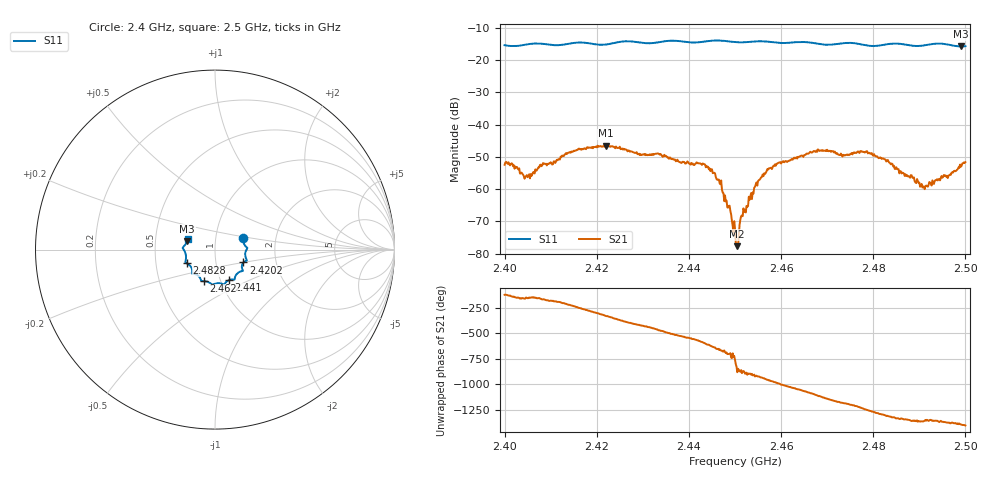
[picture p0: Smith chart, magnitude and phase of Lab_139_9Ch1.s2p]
# Hz S RI R 50
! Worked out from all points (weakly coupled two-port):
!   601 points, 2.4 GHz to 2.5 GHz, reference 50 ohm
!   highest |S21| = -46.54 dB at 2.422 GHz (marker M1); lowest = -77.7 dB at 2.4505 GHz (marker M2)
!   lowest |S11| = -15.8 dB at 2.499 GHz (marker M3), VSWR 1.39, Z = 36.4 + j3.55 ohm
!   |S11| at or under -10 dB: start of sweep to end of sweep
!   S12 and S22 are empty: the file has one direction only
!   S11 on the Smith chart (normalised r, x): 2.4 GHz: 1.36, +0.17; 2.4202 GHz: 1.36, -0.20; 2.441 GHz: 1.10, -0.39; 2.462 GHz: 0.83, -0.30; 2.4828 GHz: 0.72, -0.11; 2.5 GHz: 0.73, +0.09
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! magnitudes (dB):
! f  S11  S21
! 2.4 GHz  -15.4  -52.5
! 2.4047 GHz  -15.2  -56.0
! 2.4167 GHz  -14.6  -47.8
! 2.4202 GHz  -15.2  -46.6
! 2.422 GHz  -15.2  -46.5
! 2.4333 GHz  -14.5  -49.0
! 2.441 GHz  -14.6  -52.5
! 2.4437 GHz  -14.2  -53.2
! 2.4465 GHz  -13.9  -57.1
! 2.4487 GHz  -14.2  -65.2
! 2.45 GHz  -14.4  -72.3
! 2.4505 GHz  -14.5  -77.7
! 2.4517 GHz  -14.5  -68.4
! 2.4555 GHz  -14.2  -56.8
! 2.462 GHz  -14.6  -51.1
! 2.4667 GHz  -14.6  -48.7
! 2.4782 GHz  -15.4  -48.7
! 2.4828 GHz  -15.1  -51.4
! 2.4833 GHz  -15.0  -51.5
! 2.4912 GHz  -15.4  -60.0
! 2.499 GHz  -15.8  -53.1
! 2.5 GHz  -15.7  -51.7
